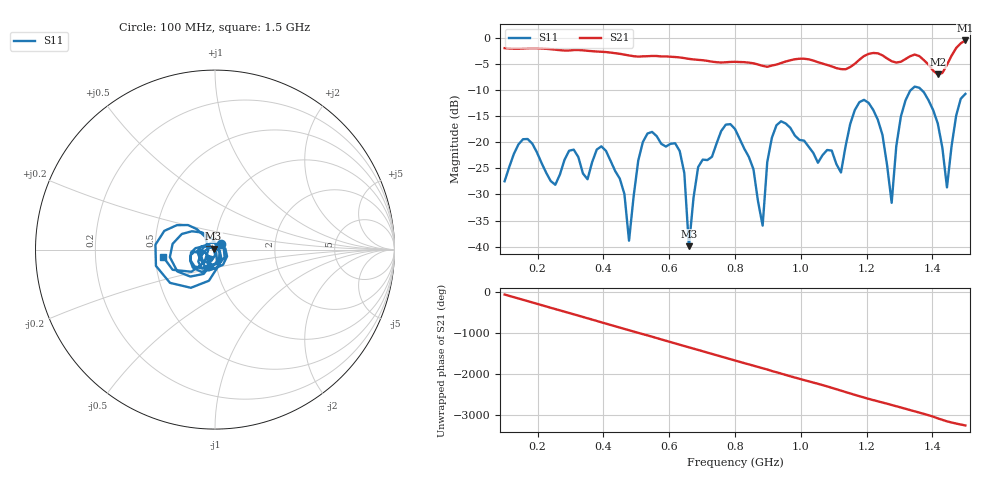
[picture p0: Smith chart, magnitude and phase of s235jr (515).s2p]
! NanoVNA-App
! Date: 2025-09-25 15:08:10
! Start: 100MHz Stop: 1,5GHz Points: 101
! S-Parameter data: F S11 S21 S12 S22
# Hz S RI R 50
!  Frequency  S11_Real  S11_Imag  S21_Real  S21_Imag  S12_Real  S12_Imag  S22_Real  S22_Imag
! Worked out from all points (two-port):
!   101 points, 100 MHz to 1.5 GHz, reference 50 ohm
!   highest |S21| = -0.49 dB at 1.5 GHz (marker M1); lowest = -7.0 dB at 1.416 GHz (marker M2)
!   |S21| within 3 dB of the highest: start of sweep to 490.6 MHz; 1.192 GHz to 1.251 GHz (59.62 MHz wide, 4.88 % of centre) (the widest 2 of 5)
!   lowest |S11| = -39.9 dB at 660 MHz (marker M3), VSWR 1.02, Z = 49.2 + j0.567 ohm
!   |S11| at or under -10 dB: start of sweep to 1.334 GHz; 1.367 GHz to end of sweep
!   S12 and S22 are empty: the file has one direction only
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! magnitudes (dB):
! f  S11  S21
! 100 MHz  -27.5  -2.0
! 156 MHz  -19.4  -2.0
! 338 MHz  -26.0  -2.4
! 408 MHz  -21.7  -2.7
! 478 MHz  -38.9  -3.4
! 520 MHz  -20.0  -3.5
! 576 MHz  -20.3  -3.6
! 632 MHz  -21.7  -3.7
! 660 MHz  -39.9  -4.0
! 688 MHz  -24.8  -4.2
! 800 MHz  -17.5  -4.6
! 884 MHz  -36.0  -5.4
! 926 MHz  -16.7  -5.1
! 1.038 GHz  -22.0  -4.3
! 1.122 GHz  -25.8  -6.0
! 1.192 GHz  -11.9  -3.5
! 1.248 GHz  -18.6  -3.3
! 1.276 GHz  -31.6  -4.5
! 1.332 GHz  -10.1  -3.5
! 1.416 GHz  -16.4  -7.0
! 1.444 GHz  -28.6  -5.2
! 1.5 GHz  -10.7  -0.5
